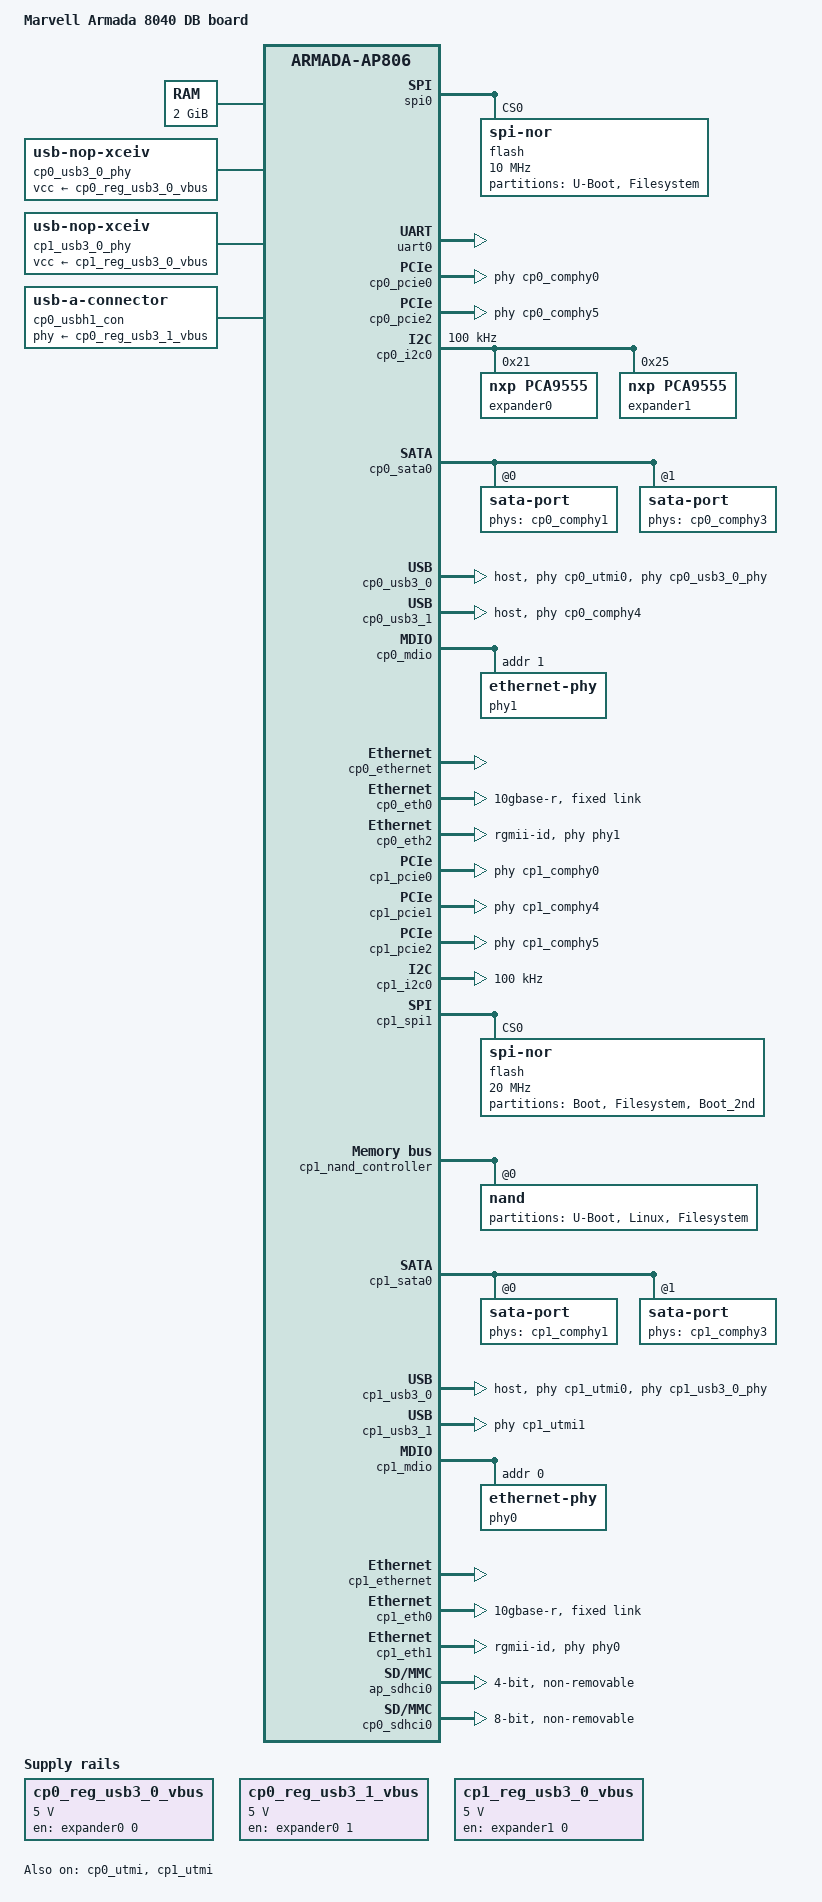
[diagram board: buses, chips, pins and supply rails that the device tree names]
// SPDX-License-Identifier: (GPL-2.0+ OR MIT)
/*
 * Copyright (C) 2016 Marvell Technology Group Ltd.
 *
 * Device Tree file for Marvell Armada 8040 Development board platform
 */

#include <dt-bindings/gpio/gpio.h>
#include "armada-8040.dtsi"

/ {
	model = "Marvell Armada 8040 DB board";
	compatible = "marvell,armada8040-db", "marvell,armada8040",
		     "marvell,armada-ap806-quad", "marvell,armada-ap806";

	chosen {
		stdout-path = "serial0:115200n8";
	};

	memory@0 {
		device_type = "memory";
		reg = <0x0 0x0 0x0 0x80000000>;
	};

	aliases {
		ethernet0 = &cp0_eth0;
		ethernet1 = &cp0_eth2;
		ethernet2 = &cp1_eth0;
		ethernet3 = &cp1_eth1;
		i2c1 = &cp0_i2c0;
		i2c2 = &cp1_i2c0;
	};

	cp0_reg_usb3_0_vbus: cp0-usb3-0-vbus {
		compatible = "regulator-fixed";
		regulator-name = "cp0-usb3h0-vbus";
		regulator-min-microvolt = <5000000>;
		regulator-max-microvolt = <5000000>;
		enable-active-high;
		gpio = <&expander0 0 GPIO_ACTIVE_HIGH>;
	};

	cp0_reg_usb3_1_vbus: cp0-usb3-1-vbus {
		compatible = "regulator-fixed";
		regulator-name = "cp0-usb3h1-vbus";
		regulator-min-microvolt = <5000000>;
		regulator-max-microvolt = <5000000>;
		enable-active-high;
		gpio = <&expander0 1 GPIO_ACTIVE_HIGH>;
	};

	cp0_usb3_0_phy: cp0-usb3-0-phy {
		compatible = "usb-nop-xceiv";
		vcc-supply = <&cp0_reg_usb3_0_vbus>;
	};

	cp1_reg_usb3_0_vbus: cp1-usb3-0-vbus {
		compatible = "regulator-fixed";
		regulator-name = "cp1-usb3h0-vbus";
		regulator-min-microvolt = <5000000>;
		regulator-max-microvolt = <5000000>;
		enable-active-high;
		gpio = <&expander1 0 GPIO_ACTIVE_HIGH>;
	};

	cp1_usb3_0_phy: cp1-usb3-0-phy {
		compatible = "usb-nop-xceiv";
		vcc-supply = <&cp1_reg_usb3_0_vbus>;
	};
};

&spi0 {
	status = "okay";

	flash@0 {
		compatible = "jedec,spi-nor";
		reg = <0>;
		spi-max-frequency = <10000000>;

		partitions {
			compatible = "fixed-partitions";
			#address-cells = <1>;
			#size-cells = <1>;

			partition@0 {
				label = "U-Boot";
				reg = <0 0x200000>;
			};
			partition@400000 {
				label = "Filesystem";
				reg = <0x200000 0xce0000>;
			};
		};
	};
};

/* Accessible over the mini-USB CON9 connector on the main board */
&uart0 {
	status = "okay";
	pinctrl-0 = <&uart0_pins>;
	pinctrl-names = "default";
};

/* CON6 on CP0 expansion */
&cp0_pcie0 {
	phys = <&cp0_comphy0 0>;
	phy-names = "cp0-pcie0-x1-phy";
	status = "okay";
};

/* CON5 on CP0 expansion */
&cp0_pcie2 {
	phys = <&cp0_comphy5 2>;
	phy-names = "cp0-pcie2-x1-phy";
	status = "okay";
};

&cp0_i2c0 {
	status = "okay";
	clock-frequency = <100000>;

	/* U31 */
	expander0: pca9555@21 {
		compatible = "nxp,pca9555";
		pinctrl-names = "default";
		gpio-controller;
		#gpio-cells = <2>;
		reg = <0x21>;
	};

	/* U25 */
	expander1: pca9555@25 {
		compatible = "nxp,pca9555";
		pinctrl-names = "default";
		gpio-controller;
		#gpio-cells = <2>;
		reg = <0x25>;
	};

};

/* CON4 on CP0 expansion */
&cp0_sata0 {
	status = "okay";

	sata-port@0 {
		phys = <&cp0_comphy1 0>;
		phy-names = "cp0-sata0-0-phy";
	};
	sata-port@1 {
		phys = <&cp0_comphy3 1>;
		phy-names = "cp0-sata0-1-phy";
	};
};

/* CON9 on CP0 expansion */
&cp0_utmi {
	status = "okay";
};

&cp0_usb3_0 {
	usb-phy = <&cp0_usb3_0_phy>;
	phys = <&cp0_utmi0>;
	phy-names = "utmi";
	dr_mode = "host";
	status = "okay";
};

&cp0_comphy4 {
	cp0_usbh1_con: connector {
		compatible = "usb-a-connector";
		phy-supply = <&cp0_reg_usb3_1_vbus>;
	};
};

/* CON10 on CP0 expansion */
&cp0_usb3_1 {
	phys = <&cp0_comphy4 1>, <&cp0_utmi1>;
	phy-names = "usb", "utmi";
	dr_mode = "host";
	status = "okay";
};

&cp0_mdio {
	status = "okay";

	phy1: ethernet-phy@1 {
		reg = <1>;
	};
};

&cp0_ethernet {
	status = "okay";
};

&cp0_eth0 {
	status = "okay";
	phy-mode = "10gbase-r";

	fixed-link {
		speed = <10000>;
		full-duplex;
	};
};

&cp0_eth2 {
	status = "okay";
	phy = <&phy1>;
	phy-mode = "rgmii-id";
};

/* CON6 on CP1 expansion */
&cp1_pcie0 {
	phys = <&cp1_comphy0 0>;
	phy-names = "cp1-pcie0-x1-phy";
	status = "okay";
};

/* CON7 on CP1 expansion */
&cp1_pcie1 {
	phys = <&cp1_comphy4 1>;
	phy-names = "cp1-pcie1-x1-phy";
	status = "okay";
};

/* CON5 on CP1 expansion */
&cp1_pcie2 {
	phys = <&cp1_comphy5 2>;
	phy-names = "cp1-pcie2-x1-phy";
	status = "okay";
};

&cp1_i2c0 {
	status = "okay";
	clock-frequency = <100000>;
};

&cp1_spi1 {
	status = "okay";

	flash@0 {
		compatible = "jedec,spi-nor";
		reg = <0x0>;
		spi-max-frequency = <20000000>;

		partitions {
			compatible = "fixed-partitions";
			#address-cells = <1>;
			#size-cells = <1>;

			partition@0 {
				label = "Boot";
				reg = <0x0 0x200000>;
			};
			partition@200000 {
				label = "Filesystem";
				reg = <0x200000 0xd00000>;
			};
			partition@f00000 {
				label = "Boot_2nd";
				reg = <0xf00000 0x100000>;
			};
		};
	};
};

/*
 * Proper NAND usage will require DPR-76 to be in position 1-2, which disables
 * MDIO signal of CP1.
 */
&cp1_nand_controller {
	pinctrl-0 = <&nand_pins>, <&nand_rb>;
	pinctrl-names = "default";

	nand@0 {
		reg = <0>;
		nand-rb = <0>;
		nand-on-flash-bbt;
		nand-ecc-strength = <4>;
		nand-ecc-step-size = <512>;

		partitions {
			compatible = "fixed-partitions";
			#address-cells = <1>;
			#size-cells = <1>;

			partition@0 {
				label = "U-Boot";
				reg = <0 0x200000>;
			};
			partition@200000 {
				label = "Linux";
				reg = <0x200000 0xe00000>;
			};
			partition@1000000 {
				label = "Filesystem";
				reg = <0x1000000 0x3f000000>;
			};
		};
	};
};

/* CON4 on CP1 expansion */
&cp1_sata0 {
	status = "okay";

	sata-port@0 {
		phys = <&cp1_comphy1 0>;
		phy-names = "cp1-sata0-0-phy";
	};
	sata-port@1 {
		phys = <&cp1_comphy3 1>;
		phy-names = "cp1-sata0-1-phy";
	};
};

&cp1_utmi {
	status = "okay";
};

/* CON9 on CP1 expansion */
&cp1_usb3_0 {
	usb-phy = <&cp1_usb3_0_phy>;
	phys = <&cp1_utmi0>;
	phy-names = "utmi";
	dr_mode = "host";
	status = "okay";
};

/* CON10 on CP1 expansion */
&cp1_usb3_1 {
	phys = <&cp1_utmi1>;
	phy-names = "utmi";
	status = "okay";
};

&cp1_mdio {
	status = "okay";

	phy0: ethernet-phy@0 {
		reg = <0>;
	};
};

&cp1_ethernet {
	status = "okay";
};

&cp1_eth0 {
	status = "okay";
	phy-mode = "10gbase-r";

	fixed-link {
		speed = <10000>;
		full-duplex;
	};
};

&cp1_eth1 {
	status = "okay";
	phy = <&phy0>;
	phy-mode = "rgmii-id";
};

&ap_sdhci0 {
	status = "okay";
	bus-width = <4>;
	non-removable;
};

&cp0_sdhci0 {
	status = "okay";
	bus-width = <8>;
	non-removable;
};
